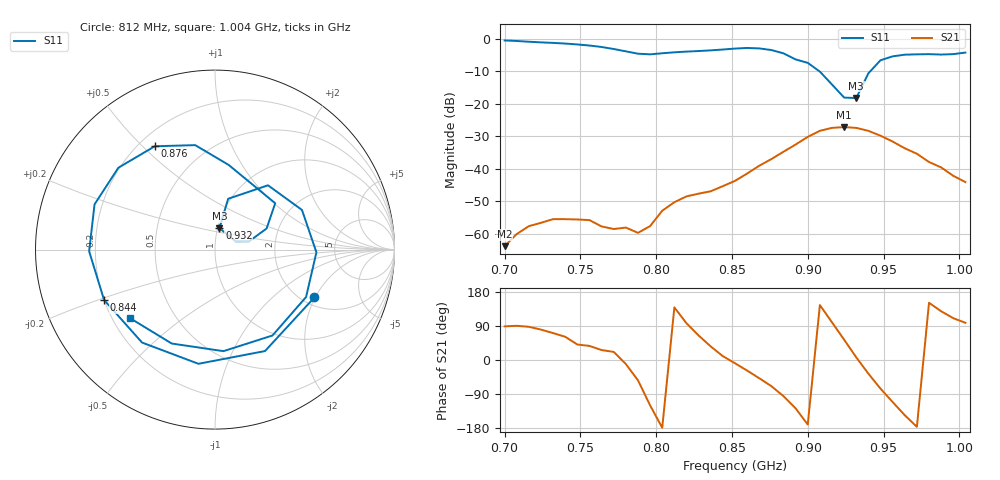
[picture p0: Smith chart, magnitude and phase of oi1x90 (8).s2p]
# Hz S RI R 50
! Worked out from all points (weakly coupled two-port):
!   39 points, 700 MHz to 1.004 GHz, reference 50 ohm
!   highest |S21| = -27.21 dB at 924 MHz (marker M1); lowest = -63.8 dB at 700 MHz (marker M2)
!   lowest |S11| = -18.3 dB at 932 MHz (marker M3), VSWR 1.28, Z = 51 + j12.4 ohm
!   |S11| at or under -10 dB: 907.5 MHz to 941.4 MHz (33.82 MHz wide, 3.66 % of centre)
!   S12 and S22 are empty: the file has one direction only
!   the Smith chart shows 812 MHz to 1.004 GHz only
!   S11 on the Smith chart (normalised r, x): 812 MHz: 2.30, -1.97; 844 MHz: 0.20, -0.21; 876 MHz: 0.26, +0.54; 932 MHz: 1.02, +0.25; 1.004 GHz: 0.27, -0.33
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7e8  0.7565 0.549  1.36e-05 0.000647  0 0  0 0
7.24e8  0.8384 -0.2456  0.000251 0.00146  0 0  0 0
7.4e8  0.4598 -0.7001  0.000809 0.00147  0 0  0 0
7.56e8  -0.1906 -0.7576  0.0013 0.000983  0 0  0 0
7.72e8  -0.6608 -0.2024  0.00111 0.000432  0 0  0 0
7.8e8  -0.5964 0.2198  0.00123 -0.000232  0 0  0 0
7.88e8  -0.254 0.5271  0.000615 -0.000835  0 0  0 0
7.96e8  0.2255 0.5258  -0.000655 -0.00114  0 0  0 0
8.04e8  0.5649 0.1846  -0.00227 -4.34e-05  0 0  0 0
8.12e8  0.5537 -0.2668  -0.00231 0.00202  0 0  0 0
8.28e8  -0.0922 -0.6362  0.00177 0.00375  0 0  0 0
8.44e8  -0.6181 -0.2801  0.00533 0.000951  0 0  0 0
8.52e8  -0.7011 -0.00969  0.00645 -0.000972  0 0  0 0
8.76e8  -0.3357 0.5757  0.00505 -0.0132  0 0  0 0
9e8  0.3355 0.2583  -0.0305 -0.00516  0 0  0 0
9.08e8  0.2875 0.1175  -0.0313 0.0219  0 0  0 0
9.24e8  0.1149 0.0465  0.0259 0.0351  0 0  0 0
9.32e8  0.025 0.1192  0.0422 0.00508  0 0  0 0
9.48e8  0.2953 0.3582  0.008 -0.0312  0 0  0 0
9.56e8  0.4846 0.2209  -0.00936 -0.0245  0 0  0 0
9.8e8  0.3203 -0.4785  -0.0111 0.00616  0 0  0 0
1.004e9  -0.4752 -0.3809  -0.000899 0.00618  0 0  0 0
